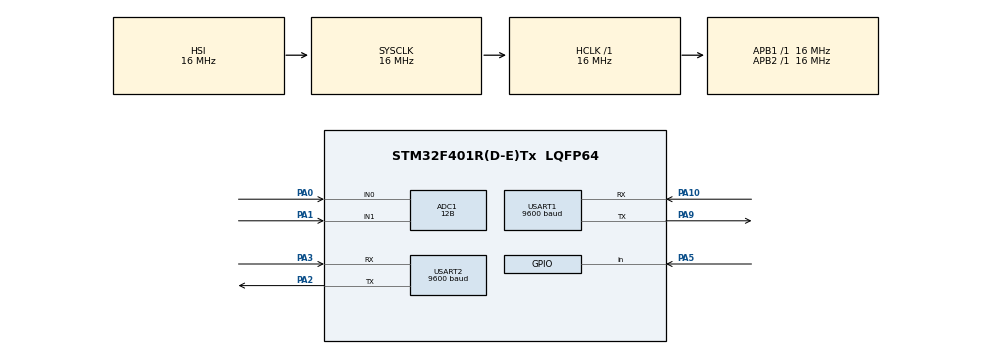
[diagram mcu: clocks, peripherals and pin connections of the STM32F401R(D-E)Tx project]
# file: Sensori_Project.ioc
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ADC1.Channel-0\#ChannelRegularConversion=ADC_CHANNEL_0
ADC1.Channel-2\#ChannelRegularConversion=ADC_CHANNEL_1
ADC1.ClockPrescaler=ADC_CLOCK_SYNC_PCLK_DIV2
ADC1.ContinuousConvMode=ENABLE
ADC1.InjNumberOfConversion=0
ADC1.NbrOfConversion=2
ADC1.NbrOfConversionFlag=1
ADC1.Rank-0\#ChannelRegularConversion=1
ADC1.Rank-2\#ChannelRegularConversion=2
ADC1.Resolution=ADC_RESOLUTION_12B
ADC1.SamplingTime-0\#ChannelRegularConversion=ADC_SAMPLETIME_3CYCLES
ADC1.SamplingTime-2\#ChannelRegularConversion=ADC_SAMPLETIME_3CYCLES
ADC1.ScanConvMode=ENABLE
ADC1.master=1
Dma.ADC1.0.Direction=DMA_PERIPH_TO_MEMORY
Dma.ADC1.0.FIFOMode=DMA_FIFOMODE_DISABLE
Dma.ADC1.0.Instance=DMA2_Stream0
Dma.ADC1.0.MemDataAlignment=DMA_MDATAALIGN_WORD
Dma.ADC1.0.MemInc=DMA_MINC_ENABLE
Dma.ADC1.0.Mode=DMA_CIRCULAR
Dma.ADC1.0.PeriphDataAlignment=DMA_PDATAALIGN_WORD
Dma.ADC1.0.PeriphInc=DMA_PINC_DISABLE
Dma.ADC1.0.Priority=DMA_PRIORITY_HIGH
Dma.Request0=ADC1
Mcu.Family=STM32F4
Mcu.Name=STM32F401R(D-E)Tx
Mcu.Package=LQFP64
NVIC.DMA2_Stream0_IRQn=true\:0\:0\:false\:false\:true\:false\:true
NVIC.PriorityGroup=NVIC_PRIORITYGROUP_4
PA0-WKUP.Signal=ADCx_IN0
PA1.Signal=ADCx_IN1
PA10.Mode=Asynchronous
PA10.Signal=USART1_RX
PA2.Mode=Asynchronous
PA2.Signal=USART2_TX
PA3.Mode=Asynchronous
PA3.Signal=USART2_RX
PA5.Signal=GPIO_Input
PA9.Mode=Asynchronous
PA9.Signal=USART1_TX
ProjectManager.HeapSize=0x200
ProjectManager.StackSize=0x400
ProjectManager.TargetToolchain=STM32CubeIDE
RCC.48MHZClocksFreq_Value=48000000
RCC.AHBFreq_Value=16000000
RCC.APB1Freq_Value=16000000
RCC.APB1TimFreq_Value=16000000
RCC.APB2Freq_Value=16000000
RCC.APB2TimFreq_Value=16000000
RCC.CortexFreq_Value=16000000
RCC.HCLKFreq_Value=16000000
RCC.HSE_VALUE=25000000
RCC.HSI_VALUE=16000000
RCC.LSE_VALUE=32768
RCC.SYSCLKFreq_VALUE=16000000
RCC.VCOOutputFreq_Value=192000000
SH.ADCx_IN0.0=ADC1_IN0,IN0
SH.ADCx_IN1.0=ADC1_IN1,IN1
USART1.BaudRate=9600
USART1.VirtualMode=VM_ASYNC
USART2.BaudRate=9600
USART2.VirtualMode=VM_ASYNC
board=custom

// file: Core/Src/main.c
/* USER CODE BEGIN Header */
/**
  ******************************************************************************
  * @file           : main.c
  * @brief          : Main program body
  ******************************************************************************
  * @attention
  *
  * Copyright (c) 2022 STMicroelectronics.
  * All rights reserved.
  *
  * This software is licensed under terms that can be found in the LICENSE file
  * in the root directory of this software component.
  * If no LICENSE file comes with this software, it is provided AS-IS.
  *
  ******************************************************************************
  */
/* USER CODE END Header */
#include "main.h"
#include "adc.h"
#include "dma.h"
#include "usart.h"
#include "gpio.h"

void SystemClock_Config(void);

/* USER CODE BEGIN 0 */
#define MSG_SIZE 1
/* USER CODE END 0 */

int main(void)
{

  /* MCU Configuration--------------------------------------------------------*/

  /* Reset of all peripherals, Initializes the Flash interface and the Systick. */
  HAL_Init();

  /* Configure the system clock */
  SystemClock_Config();

  /* Initialize all configured peripherals */
  MX_GPIO_Init();
  MX_DMA_Init();
  MX_ADC1_Init();
  MX_USART2_UART_Init();
  MX_USART1_UART_Init();
  /* USER CODE BEGIN 2 */
  int CAMPIONI = 210;
  uint32_t value[2];
  HAL_ADC_Start_DMA(&hadc1, (uint32_t*)value, 2);
  uint32_t v[CAMPIONI];
  uint32_t i[CAMPIONI];
  double phase[50];
  char str[6];
  char phase_msg[8];
  /* USER CODE END 2 */

  /* Infinite loop */
  /* USER CODE BEGIN WHILE */
  int counter = 0;
  long double SAMPLE_TIME = 0.000095;

  while (1)
  {
    /* USER CODE END WHILE */

    /* USER CODE BEGIN 3 */
	  HAL_ADC_Stop_DMA(&hadc1);
	  if(counter < CAMPIONI){
	  	  i[counter] = value[0];
	  	  v[counter] = value[1];
	  }
	  HAL_ADC_Start_DMA(&hadc1, (uint32_t*)value, 2);
	  counter++;

	  if(counter-1 == CAMPIONI){
		  if(HAL_GPIO_ReadPin(GPIOA, GPIO_PIN_5)){
			  HAL_UART_Transmit(&huart2, "Tensione:\n", sizeof("Tensione:\n"), HAL_MAX_DELAY);
			  HAL_UART_Transmit(&huart1, "Tensione\n", sizeof("Tensione\n"), HAL_MAX_DELAY);
			  for(int j = 0; j < CAMPIONI; j++){
				  sprintf(str, " %lu ", v[j]);
				  HAL_UART_Transmit(&huart2, str, sizeof(str), HAL_MAX_DELAY);
				  sprintf(str, "%lu", v[j]);
				  HAL_UART_Transmit(&huart1, str, sizeof(str), HAL_MAX_DELAY);
			  }
			  HAL_UART_Transmit(&huart1, "\n", sizeof("\n"), HAL_MAX_DELAY);

			  HAL_UART_Transmit(&huart2, "\n\nCorrente:\n", sizeof("\n\nCorrente:\n"), HAL_MAX_DELAY);
			  HAL_UART_Transmit(&huart1, "Corrente\n", sizeof("Corrente\n"), HAL_MAX_DELAY);
			  for(int j = 0; j < CAMPIONI; j++){
				  sprintf(str, " %lu ", i[j]);
				  HAL_UART_Transmit(&huart2, str, sizeof(str), HAL_MAX_DELAY);
				  sprintf(str, "%lu", i[j]);
				  HAL_UART_Transmit(&huart1, str, sizeof(str), HAL_MAX_DELAY);
			  }
			  HAL_UART_Transmit(&huart1, "\n", sizeof("\n"), HAL_MAX_DELAY);

			  uint32_t diff = v[CAMPIONI - 1] - v[1];
			  int k = 2;

			  while((v[CAMPIONI - k] - v[1]) < diff){
				  diff = v[CAMPIONI - k] - v[1];
				  k++;
			  }

			  int min_v = v[0];
			  int min_v_index = 0;
			  for(int j = 1; j <= CAMPIONI - k + 1; j++){
				  if(v[j] < min_v){
					  min_v = v[j];
					  min_v_index = j;
				  }
			  }

			  uint32_t start_i = i[1];
			  diff = i[CAMPIONI - 1] - i[1];
			  k = 2;

			  while((i[CAMPIONI - k] - i[1]) < diff){
				  diff = i[CAMPIONI - k] - i[1];
				  k++;
			  }

			  int min_i = i[0];
			  int min_i_index = 0;
			  for(int j = 1; j < CAMPIONI - k + 1; j++){
				  if(i[j] < min_i){
					  min_i = i[j];
					  min_i_index = j;
				  }
			  }

			  double td = SAMPLE_TIME*(min_i_index - min_v_index);
			  double phase_shift = (360*td)/0.02;

			  HAL_UART_Transmit(&huart1, "Fase\n", sizeof("Fase\n"), HAL_MAX_DELAY);
			  gcvt(phase_shift, 6, phase_msg);
			  HAL_UART_Transmit(&huart1, phase_msg, sizeof(phase_msg), HAL_MAX_DELAY);
			  HAL_UART_Transmit(&huart1, "\n", sizeof("\n"), HAL_MAX_DELAY);
		  }
		  counter = 0;
	  }

  }
  /* USER CODE END 3 */
}

void SystemClock_Config(void)
{
  RCC_OscInitTypeDef RCC_OscInitStruct = {0};
  RCC_ClkInitTypeDef RCC_ClkInitStruct = {0};

  /** Configure the main internal regulator output voltage
  */
  __HAL_RCC_PWR_CLK_ENABLE();
  __HAL_PWR_VOLTAGESCALING_CONFIG(PWR_REGULATOR_VOLTAGE_SCALE2);
  /** Initializes the RCC Oscillators according to the specified parameters
  * in the RCC_OscInitTypeDef structure.
  */
  RCC_OscInitStruct.OscillatorType = RCC_OSCILLATORTYPE_HSI;
  RCC_OscInitStruct.HSIState = RCC_HSI_ON;
  RCC_OscInitStruct.HSICalibrationValue = RCC_HSICALIBRATION_DEFAULT;
  RCC_OscInitStruct.PLL.PLLState = RCC_PLL_NONE;
  if (HAL_RCC_OscConfig(&RCC_OscInitStruct) != HAL_OK)
  {
    Error_Handler();
  }
  /** Initializes the CPU, AHB and APB buses clocks
  */
  RCC_ClkInitStruct.ClockType = RCC_CLOCKTYPE_HCLK|RCC_CLOCKTYPE_SYSCLK
                              |RCC_CLOCKTYPE_PCLK1|RCC_CLOCKTYPE_PCLK2;
  RCC_ClkInitStruct.SYSCLKSource = RCC_SYSCLKSOURCE_HSI;
  RCC_ClkInitStruct.AHBCLKDivider = RCC_SYSCLK_DIV1;
  RCC_ClkInitStruct.APB1CLKDivider = RCC_HCLK_DIV1;
  RCC_ClkInitStruct.APB2CLKDivider = RCC_HCLK_DIV1;

  if (HAL_RCC_ClockConfig(&RCC_ClkInitStruct, FLASH_LATENCY_0) != HAL_OK)
  {
    Error_Handler();
  }
}

void Error_Handler(void)
{
  __disable_irq();
  while (1)
  {
  }
}
